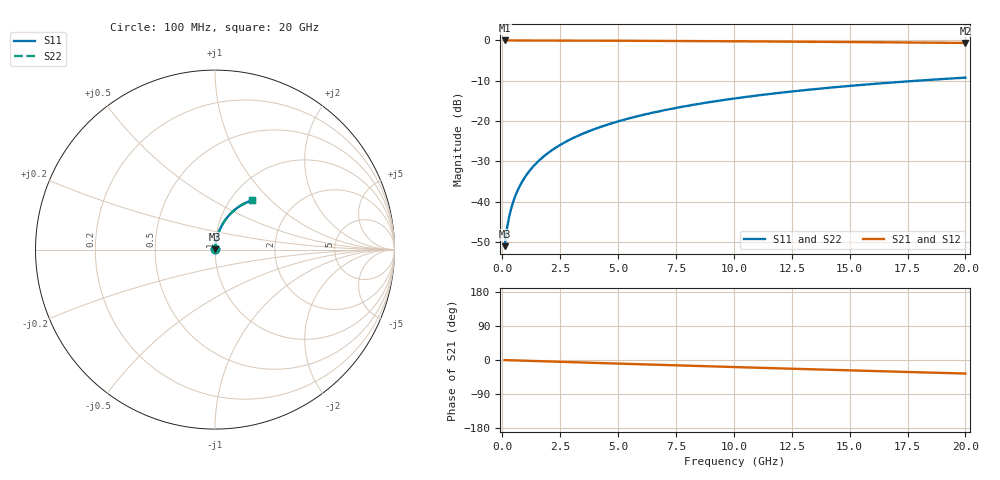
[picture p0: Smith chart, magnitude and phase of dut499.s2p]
! Touchstone file exported from HFSS 2026.1.0
!  File:  C:/ffzhzh/LocalFiles/Ansys_Project_Files/temp_train_BSMRDL_499_1783014168_55676.aedt
!  Generated:  01:44:16 AM Jul  3, 2026
!  Design:  BSMRDL
!  Project:  temp_train_BSMRDL_499_1783014168_55676
! Variables:
!  h_bsmrdl = 5.15um
!  h_ox = 20um
!  h_rdl = 5um
!  h_sub = 80um
!  h_tmrdl = 5um
!  h_tsv = 80um
!  h_via = 3um
!  l_bsmrdl = 501.82um
!  l_sub = 901.82um
!  l_tmrdl = 200um
!  m_sub = 200um
!  pitch = 51.92um
!  r_tsv = 6um
!  s_tmrdl = 10um
!  w_bsmrdl = 21.14um
!  w_sub = 500um
!  w_tmrdl = 12um
!  x_tsv_center1 = 206um
!  x_tsv_center2 = 728.96um
!  x_tsv_center3 = 940.96um
!  x_tsv_center4 = 1463.92um
!  x_tsv_center5 = 1675.92um
!  x_tsv_center6 = 2198.88um
# GHz S MA R 50.000000
! Terminal data exported
! Port[1] = BSM_RDL1_1_T1
! Port[2] = BSM_RDL1_1_T2
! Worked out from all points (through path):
!   200 points, 100 MHz to 20 GHz, reference 50 ohm
!   highest |S21| = -0.02 dB at 100 MHz (marker M1); lowest = -0.6 dB at 20 GHz (marker M2)
!   group delay of S21, straight-line fit = 4.96 ps
!   lowest |S11| = -51.0 dB at 100 MHz (marker M3), VSWR 1.01, Z = 50.2 + j0.218 ohm
!   |S11| at or under -10 dB: start of sweep to 17.89 GHz
!   |S22| runs from -51.0 to -9.2 dB; largest |S21 - S12| = 1.7e-15
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0.1  0.002816 50.5  0.9982 -0.2  0.9982 -0.2  0.002816 50.5
! Gamma 0 0 0 0
! Port Impedance 50 0 50 0
0.2  0.00467 65.8  0.9981 -0.4  0.9981 -0.4  0.00467 65.8
0.3  0.006611 72.1  0.998 -0.6  0.998 -0.6  0.006611 72.1
0.4  0.008577 75.5  0.9979 -0.8  0.9979 -0.8  0.008577 75.5
0.5  0.01056 77.7  0.9979 -1.0  0.9979 -1.0  0.01056 77.7
0.7  0.01456 80.2  0.9978 -1.4  0.9978 -1.4  0.01456 80.2
0.8  0.01657 80.9  0.9977 -1.6  0.9977 -1.6  0.01657 80.9
1  0.0206 81.8  0.9975 -1.9  0.9975 -1.9  0.0206 81.8
1.2  0.02463 82.2  0.9974 -2.3  0.9974 -2.3  0.02463 82.2
1.4  0.02865 82.4  0.9972 -2.7  0.9972 -2.7  0.02865 82.4
1.7  0.03468 82.5  0.9968 -3.3  0.9968 -3.3  0.03468 82.5
2  0.04068 82.3  0.9964 -3.8  0.9964 -3.8  0.04068 82.3
2.7  0.05457 81.5  0.9954 -5.2  0.9954 -5.2  0.05457 81.5
3.5  0.07024 80.3  0.9939 -6.7  0.9939 -6.7  0.07024 80.3
4.2  0.08377 79.2  0.9924 -8.0  0.9924 -8.0  0.08377 79.2
5  0.09904 77.9  0.9905 -9.5  0.9905 -9.5  0.09904 77.9
6.8  0.1327 74.8  0.9857 -12.8  0.9857 -12.8  0.1327 74.8
8.3  0.16 72.3  0.981 -15.5  0.981 -15.5  0.16 72.3
10.1  0.1919 69.2  0.9747 -18.8  0.9747 -18.8  0.1919 69.2
13.4  0.2475 63.6  0.9614 -24.6  0.9614 -24.6  0.2475 63.7
16.7  0.2988 58.2  0.9462 -30.3  0.9462 -30.3  0.2988 58.2
20  0.3455 52.8  0.9298 -35.7  0.9298 -35.7  0.3455 52.9
